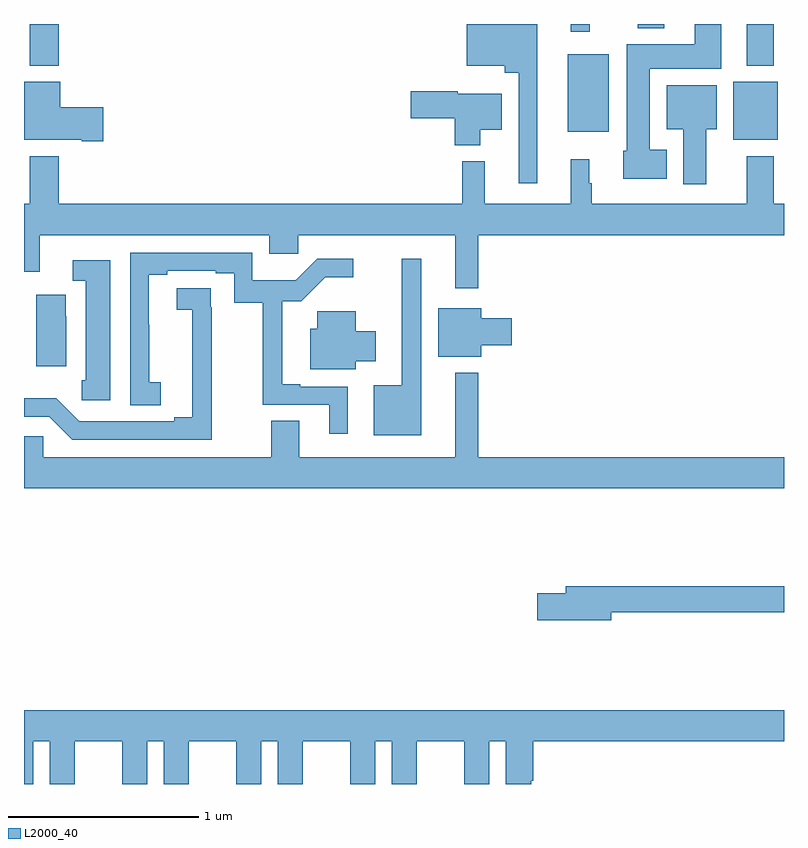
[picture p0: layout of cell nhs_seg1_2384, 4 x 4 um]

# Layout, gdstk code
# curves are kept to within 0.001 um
import gdstk
lib = gdstk.Library(unit=1e-6, precision=1e-09)
def R(c, l, rs):  # rectangles x0, y0, x1, y1
    for r in rs: c.add(gdstk.rectangle(r[:2], r[2:], *l))
def P(c, l, *ps):  # polygons
    for p in ps: c.add(gdstk.Polygon(p, *l))
L2000_40 = (2000, 40)

nhs_seg1_2384 = lib.new_cell('nhs_seg1_2384')
R(nhs_seg1_2384, L2000_40, [(244.733,529.589,244.966,529.894), (243.863,529.631,244.078,530.041), (241.031,529.979,241.184,530.199), (244.805,529.979,244.945,530.199), (243.878,530.157,243.978,530.199), (244.229,530.177,244.369,530.199)])
P(nhs_seg1_2384, L2000_40, [(244.384,529.537),(244.294,529.537),(244.294,529.964),(244.669,529.964),(244.669,530.199),(244.529,530.199),(244.529,530.092),(244.172,530.092),(244.172,529.533),(244.154,529.533),(244.154,529.385),(244.384,529.385)],
  [(243.7,530.199),(243.33,530.199),(243.33,529.979),(243.53,529.979),(243.53,529.943),(243.603,529.943),(243.603,529.362),(243.7,529.362)],
  [(241.417,529.76),(241.192,529.76),(241.192,529.894),(241,529.894),(241,529.589),(241.304,529.589),(241.304,529.582),(241.417,529.582)],
  [(244.591,529.646),(244.645,529.646),(244.645,529.876),(244.382,529.876),(244.382,529.646),(244.469,529.646),(244.469,529.356),(244.591,529.356)],
  [(243.4,529.643),(243.514,529.643),(243.514,529.831),(243.282,529.831),(243.282,529.844),(243.036,529.844),(243.036,529.702),(243.266,529.702),(243.266,529.562),(243.4,529.562)],
  [(243.391,529.088),(245,529.088),(245,529.252),(244.945,529.252),(244.945,529.504),(244.805,529.504),(244.805,529.252),(243.988,529.252),(243.988,529.361),(243.976,529.361),(243.976,529.486),(243.878,529.486),(243.878,529.252),(243.425,529.252),(243.425,529.477),(243.307,529.477),(243.307,529.252),(241.184,529.252),(241.184,529.504),(241.031,529.504),(241.031,529.252),(241,529.252),(241,528.894),(241.084,528.894),(241.084,529.088),(242.291,529.088),(242.291,528.99),(242.443,528.99),(242.443,529.088),(243.269,529.088),(243.269,528.807),(243.391,528.807)],
  [(242.704,528.291),(242.455,528.291),(242.455,528.304),(242.359,528.304),(242.359,528.741),(242.459,528.741),(242.585,528.866),(242.734,528.866),(242.734,528.963),(242.544,528.963),(242.431,528.85),(242.202,528.85),(242.202,528.996),(241.56,528.996),(241.56,528.193),(241.72,528.193),(241.72,528.313),(241.659,528.313),(241.659,528.617),(241.657,528.617),(241.657,528.88),(241.753,528.88),(241.753,528.9),(242.009,528.9),(242.009,528.886),(242.106,528.886),(242.106,528.733),(242.257,528.733),(242.257,528.195),(242.606,528.195),(242.606,528.042),(242.704,528.042)],
  [(243.091,528.964),(242.987,528.964),(242.987,528.298),(242.84,528.298),(242.84,528.035),(243.091,528.035)],
  [(241.453,528.955),(241.257,528.955),(241.257,528.847),(241.325,528.847),(241.325,528.324),(241.303,528.324),(241.303,528.219),(241.453,528.219)],
  [(241.988,528.707),(241.982,528.707),(241.982,528.809),(241.803,528.809),(241.803,528.694),(241.885,528.694),(241.886,528.128),(241.79,528.128),(241.79,528.108),(241.29,528.108),(241.169,528.229),(241,528.229),(241,528.132),(241.134,528.132),(241.254,528.012),(241.988,528.012)],
  [(241.222,528.662),(241.22,528.662),(241.22,528.775),(241.064,528.775),(241.064,528.399),(241.222,528.399)],
  [(243.406,528.509),(243.568,528.509),(243.568,528.651),(243.406,528.651),(243.406,528.703),(243.179,528.703),(243.179,528.449),(243.406,528.449)],
  [(242.746,528.425),(242.851,528.425),(242.851,528.583),(242.746,528.583),(242.746,528.688),(242.543,528.688),(242.543,528.596),(242.507,528.596),(242.507,528.383),(242.746,528.383)],
  [(245,527.92),(243.391,527.92),(243.391,528.364),(243.269,528.364),(243.269,527.92),(242.449,527.92),(242.449,528.11),(242.302,528.11),(242.302,527.92),(241.101,527.92),(241.101,528.03),(241,528.03),(241,527.756),(245,527.756)],
  [(244.09,527.104),(245,527.104),(245,527.24),(243.851,527.24),(243.851,527.204),(243.702,527.204),(243.702,527.062),(244.09,527.062)],
  [(241,526.199),(241.048,526.199),(241.048,526.424),(241.136,526.424),(241.136,526.199),(241.266,526.199),(241.266,526.216),(241.267,526.216),(241.267,526.424),(241.517,526.424),(241.517,526.216),(241.518,526.216),(241.518,526.199),(241.648,526.199),(241.648,526.424),(241.736,526.424),(241.736,526.199),(241.866,526.199),(241.866,526.216),(241.867,526.216),(241.867,526.424),(242.117,526.424),(242.117,526.216),(242.118,526.216),(242.118,526.199),(242.248,526.199),(242.248,526.424),(242.336,526.424),(242.336,526.199),(242.466,526.199),(242.466,526.216),(242.467,526.216),(242.467,526.424),(242.717,526.424),(242.717,526.216),(242.718,526.216),(242.718,526.199),(242.848,526.199),(242.848,526.424),(242.936,526.424),(242.936,526.199),(243.066,526.199),(243.066,526.216),(243.067,526.216),(243.067,526.424),(243.317,526.424),(243.317,526.216),(243.318,526.216),(243.318,526.199),(243.448,526.199),(243.448,526.424),(243.536,526.424),(243.536,526.199),(243.67,526.199),(243.67,526.216),(243.68,526.216),(243.68,526.424),(245,526.424),(245,526.588),(241,526.588)])

lib.write_gds('nhs_seg1_2384.gds')
